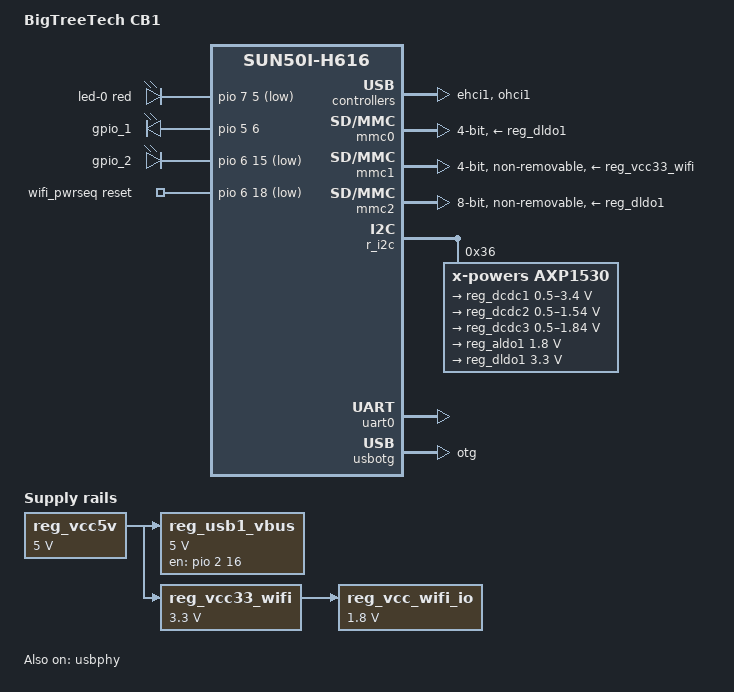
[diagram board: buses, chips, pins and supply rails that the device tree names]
// SPDX-License-Identifier: (GPL-2.0+ or MIT)
/*
 * Copyright (C) 2022 Arm Ltd.
 */

/dts-v1/;

#include "sun50i-h616.dtsi"

#include <dt-bindings/gpio/gpio.h>
#include <dt-bindings/interrupt-controller/arm-gic.h>
#include <dt-bindings/leds/common.h>

/ {
	model = "BigTreeTech CB1";
	compatible = "bigtreetech,cb1", "allwinner,sun50i-h616";

	aliases {
		serial0 = &uart0;
	};

	chosen {
		stdout-path = "serial0:115200n8";
	};

	leds {
		compatible = "gpio-leds";

		led-0 {
			function = LED_FUNCTION_POWER;
			color = <LED_COLOR_ID_RED>;
			gpios = <&pio 7 5 GPIO_ACTIVE_LOW>; /* PH5 */
			default-state = "off";
		};

		gpio_1 {
			function = "wifi_power";
			gpios = <&pio 5 6 GPIO_ACTIVE_HIGH>; /* PF6 */
			default-state = "on";
		};

		gpio_2 {
			function = "wifi_wake";
			gpios = <&pio 6 15 GPIO_ACTIVE_LOW>; /* PG15 */
			default-state = "on";
		};
	};

	reg_vcc5v: vcc5v {
		/* board wide 5V supply directly from the USB-C socket */
		compatible = "regulator-fixed";
		regulator-name = "vcc-5v";
		regulator-min-microvolt = <5000000>;
		regulator-max-microvolt = <5000000>;
		regulator-always-on;
	};

	reg_usb1_vbus: regulator-usb1-vbus {
		compatible = "regulator-fixed";
		regulator-name = "usb1-vbus";
		regulator-min-microvolt = <5000000>;
		regulator-max-microvolt = <5000000>;
		vin-supply = <&reg_vcc5v>;
		enable-active-high;
		gpio = <&pio 2 16 GPIO_ACTIVE_HIGH>; /* PC16 */
	};

    reg_vcc33_wifi: vcc33-wifi {
		/* Always on 3.3V regulator for WiFi and BT */
		compatible = "regulator-fixed";
		regulator-name = "vcc33-wifi";
		regulator-min-microvolt = <3300000>;
		regulator-max-microvolt = <3300000>;
		regulator-always-on;
		vin-supply = <&reg_vcc5v>;
	};

	reg_vcc_wifi_io: vcc-wifi-io {
		/* Always on 1.8V/300mA regulator for WiFi and BT IO */
		compatible = "regulator-fixed";
		regulator-name = "vcc-wifi-io";
		regulator-min-microvolt = <1800000>;
		regulator-max-microvolt = <1800000>;
		regulator-always-on;
		vin-supply = <&reg_vcc33_wifi>;
	};

	wifi_pwrseq: wifi-pwrseq {
		compatible = "mmc-pwrseq-simple";
		clocks = <&rtc 1>;
		clock-names = "osc32k-out";
		reset-gpios = <&pio 6 18 GPIO_ACTIVE_LOW>;  /* PG18 */
		post-power-on-delay-ms = <200>;
	};
};

&ehci1 {
	status = "okay";
};

/* USB 2 & 3 are on headers only. */


&ohci1 {
	status = "okay";
};

&mmc0 {
	vmmc-supply = <&reg_dldo1>;
	bus-width = <4>;
	status = "okay";
};

&mmc1 {
	vmmc-supply = <&reg_vcc33_wifi>;
	vqmmc-supply = <&reg_vcc_wifi_io>;
	mmc-pwrseq = <&wifi_pwrseq>;
	bus-width = <4>;
	max-frequency = <25000000>;
	non-removable;
	mmc-ddr-1_8v;
	status = "okay";
};

&mmc2 {
    vmmc-supply = <&reg_dldo1>;
    no-1-8-v;
	bus-width = <8>;
    non-removable;
	status = "okay";
};

&r_i2c {
	status = "okay";

    axp1530: pmic@36 {
		compatible = "x-powers,axp1530";
        status = "okay";
		reg = <0x36>;
		wakeup-source;

		standby_param: standby_param {
			vcc-dram = <0x4>;
		};

		regulators{
			reg_dcdc1: dcdc1 {
				regulator-name = "axp1530-dcdc1";
				regulator-min-microvolt = <500000>;
				regulator-max-microvolt = <3400000>;
				regulator-step-delay-us = <25>;
				regulator-final-delay-us = <50>;
				regulator-always-on;
			};

			reg_dcdc2: dcdc2 {
				regulator-name = "axp1530-dcdc2";
				regulator-min-microvolt = <500000>;
				regulator-max-microvolt = <1540000>;
				regulator-step-delay-us = <25>;
				regulator-final-delay-us = <50>;
				regulator-ramp-delay = <200>; // FIXME
				regulator-always-on;
			};

			reg_dcdc3: dcdc3 {
				regulator-name = "axp1530-dcdc3";
				regulator-min-microvolt = <500000>;
				regulator-max-microvolt = <1840000>;
				regulator-step-delay-us = <25>;
				regulator-final-delay-us = <50>;
				regulator-always-on;
			};

			reg_aldo1: aldo1 {
				regulator-name = "axp1530-aldo1";
				regulator-min-microvolt = <1800000>;
				regulator-max-microvolt = <1800000>;
				regulator-step-delay-us = <25>;
				regulator-final-delay-us = <50>;
				regulator-always-on;
			};

			reg_dldo1: dldo1 {
				regulator-name = "axp1530-dldo1";
				regulator-min-microvolt = <3300000>;
				regulator-max-microvolt = <3300000>;
				regulator-step-delay-us = <25>;
				regulator-final-delay-us = <50>;
				regulator-always-on;
			};
		};
	};
};

&uart0 {
	pinctrl-names = "default";
	pinctrl-0 = <&uart0_ph_pins>;
	status = "okay";
};

&usbotg {
	/*
	 * PHY0 pins are connected to a USB-C socket, but a role switch
	 * is not implemented: both CC pins are pulled to GND.
	 * The VBUS pins power the device, so a fixed peripheral mode
	 * is the best choice.
	 * The board can be powered via GPIOs, in this case port0 *can*
	 * act as a host (with a cable/adapter ignoring CC), as VBUS is
	 * then provided by the GPIOs. Any user of this setup would
	 * need to adjust the DT accordingly: dr_mode set to "host",
	 * enabling OHCI0 and EHCI0.
	 */
	dr_mode = "otg";
	status = "okay";
};

&usbphy {
	usb1_vbus-supply = <&reg_usb1_vbus>;
	status = "okay";
};
